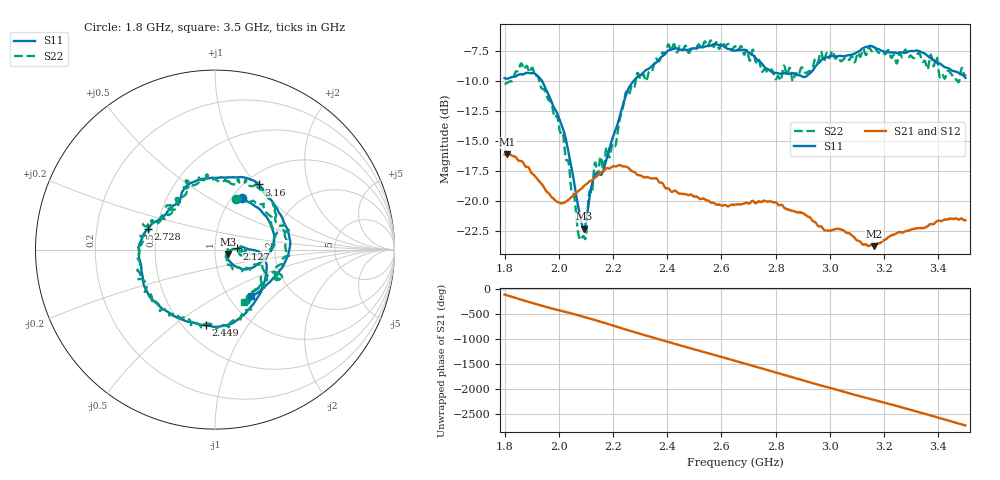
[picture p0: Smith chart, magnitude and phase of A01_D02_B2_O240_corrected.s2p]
! Created with skrf 1.9.0 (http://scikit-rf.org).
# Hz S RI R 50.0
!freq ReS11 ImS11 ReS21 ImS21 ReS12 ImS12 ReS22 ImS22
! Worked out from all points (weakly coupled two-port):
!   1601 points, 1.8 GHz to 3.5 GHz, reference 50 ohm
!   highest |S21| = -16.13 dB at 1.81 GHz (marker M1); lowest = -23.8 dB at 3.163 GHz (marker M2)
!   lowest |S11| = -22.4 dB at 2.092 GHz (marker M3), VSWR 1.17, Z = 57.7 - j2.79 ohm
!   |S11| at or under -10 dB: 1.937 GHz to 2.277 GHz (340.3 MHz wide, 16.2 % of centre)
!   |S22| runs from -23.3 to -6.7 dB; largest |S21 - S12| = 0.0027
!   S11 on the Smith chart (normalised r, x): 1.8 GHz: 1.11, +0.71; 2.127 GHz: 1.28, +0.02; 2.449 GHz: 0.64, -0.66; 2.728 GHz: 0.45, +0.12; 3.16 GHz: 1.15, +1.03; 3.5 GHz: 1.27, -0.73
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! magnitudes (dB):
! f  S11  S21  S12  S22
! 1.8 GHz  -9.8  -16.2  -16.2  -10.3
! 1.81 GHz  -9.8  -16.1  -16.1  -10.2
! 1.902 GHz  -9.4  -17.8  -17.7  -8.9
! 1.969 GHz  -11.5  -19.6  -19.6  -11.7
! 2.023 GHz  -14.6  -20.1  -20.1  -16.1
! 2.084 GHz  -21.9  -19.0  -18.9  -23.1
! 2.092 GHz  -22.4  -18.8  -18.9  -23.0
! 2.127 GHz  -18.2  -18.2  -18.2  -18.1
! 2.162 GHz  -17.6  -17.6  -17.5  -17.3
! 2.208 GHz  -14.2  -17.2  -17.1  -15.5
! 2.26 GHz  -10.5  -17.4  -17.4  -11.2
! 2.367 GHz  -8.3  -18.4  -18.3  -8.4
! 2.449 GHz  -7.4  -19.4  -19.4  -7.2
! 2.65 GHz  -7.5  -20.3  -20.3  -7.1
! 2.728 GHz  -8.2  -20.2  -20.2  -8.5
! 2.812 GHz  -9.4  -20.4  -20.3  -9.7
! 2.934 GHz  -9.3  -21.6  -21.6  -9.2
! 3.16 GHz  -7.2  -23.8  -23.7  -7.4
! 3.163 GHz  -7.2  -23.8  -23.7  -7.3
! 3.217 GHz  -7.6  -23.0  -23.0  -7.5
! 3.328 GHz  -7.5  -22.3  -22.3  -7.7
! 3.5 GHz  -9.8  -21.6  -21.6  -9.5
